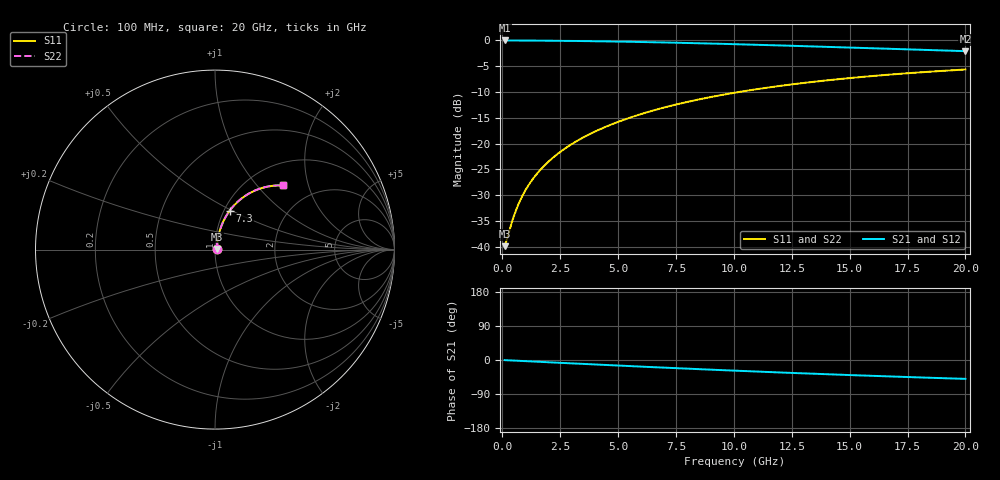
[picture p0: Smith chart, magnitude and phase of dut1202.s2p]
! Touchstone file exported from HFSS 2024.1.0
!  File:  C:/UserFiles/LocalFiles/RDL_TSV_Batchsim/temp_RDL_top_1202_1780239412.aedt
!  Generated:  11:00:28 PM May 31, 2026
!  Design:  RDL_top
!  Project:  temp_RDL_top_1202_1780239412
!  Setup:  Setup1
!  Solution:  Sweep
! Variables:
!  dtsv = 10.80580581um
!  hbump = 3um
!  htsv = 52.98um
!  ldown = 100um
!  lrdl = 688.91um
!  p = 40
!  p1 = 40.22um
!  rhole = 1um
!  t = 450um
!  tdown = 3.915915916um
!  trdl = 2.17um
!  wdown = 15.38538539um
!  wrdl = 11.65um
# GHz S MA R 50.000000
! Terminal data exported
! Port[1] = Box2_T1
! Port[2] = Box2_T2
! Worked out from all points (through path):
!   200 points, 100 MHz to 20 GHz, reference 50 ohm
!   highest |S21| = -0.08 dB at 100 MHz (marker M1); lowest = -2.2 dB at 20 GHz (marker M2)
!   group delay of S21, straight-line fit = 6.93 ps
!   lowest |S11| = -39.8 dB at 100 MHz (marker M3), VSWR 1.02, Z = 51 + j0.351 ohm
!   |S11| at or under -10 dB: start of sweep to 10.27 GHz
!   |S22| runs from -39.8 to -5.7 dB; largest |S21 - S12| = 4.1e-15
!   S11 on the Smith chart (normalised r, x): 100 MHz: 1.02, +0.01; 7.3 GHz: 1.06, +0.49; 20 GHz: 1.42, +1.38
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0.1  0.01022 19.7  0.9904 -0.3  0.9904 -0.3  0.01022 19.7
! Gamma 0 0 0 0
! Port Impedance 50 0 50 0
0.2  0.0119 35.2  0.9903 -0.6  0.9903 -0.6  0.0119 35.2
0.4  0.01699 53.5  0.99 -1.2  0.99 -1.2  0.01699 53.5
0.5  0.01992 58.6  0.9898 -1.5  0.9898 -1.5  0.01992 58.6
0.7  0.02604 65.0  0.9892 -2.2  0.9892 -2.2  0.02604 65.0
1  0.03545 70.0  0.9884 -3.1  0.9884 -3.1  0.03546 70.0
1.3  0.04492 72.7  0.9874 -3.9  0.9874 -3.9  0.04492 72.7
1.7  0.05757 74.5  0.986 -5.1  0.986 -5.1  0.05757 74.6
2.2  0.07343 75.6  0.984 -6.6  0.984 -6.6  0.07344 75.6
2.8  0.0925 75.9  0.9811 -8.3  0.9811 -8.3  0.09251 76.0
3.5  0.1147 75.6  0.9771 -10.4  0.9771 -10.4  0.1148 75.6
4.2  0.1369 74.8  0.9724 -12.4  0.9724 -12.4  0.1369 74.9
5  0.162 73.6  0.9662 -14.7  0.9662 -14.7  0.162 73.7
5.9  0.1899 72.0  0.9583 -17.2  0.9583 -17.2  0.1899 72.1
6.8  0.2173 70.3  0.9494 -19.7  0.9494 -19.7  0.2174 70.3
7.3  0.2322 69.3  0.9441 -21.0  0.9441 -21.0  0.2323 69.3
8.6  0.2701 66.5  0.9294 -24.5  0.9294 -24.5  0.2702 66.5
10.1  0.3117 63.3  0.9111 -28.3  0.9111 -28.3  0.3118 63.3
11.7  0.3533 59.8  0.8903 -32.2  0.8903 -32.2  0.3534 59.8
13.4  0.394 56.2  0.8676 -36.2  0.8676 -36.2  0.3942 56.2
16.7  0.463 49.6  0.8232 -43.3  0.8232 -43.3  0.4633 49.6
20  0.5193 43.5  0.7806 -49.8  0.7806 -49.8  0.5196 43.5
